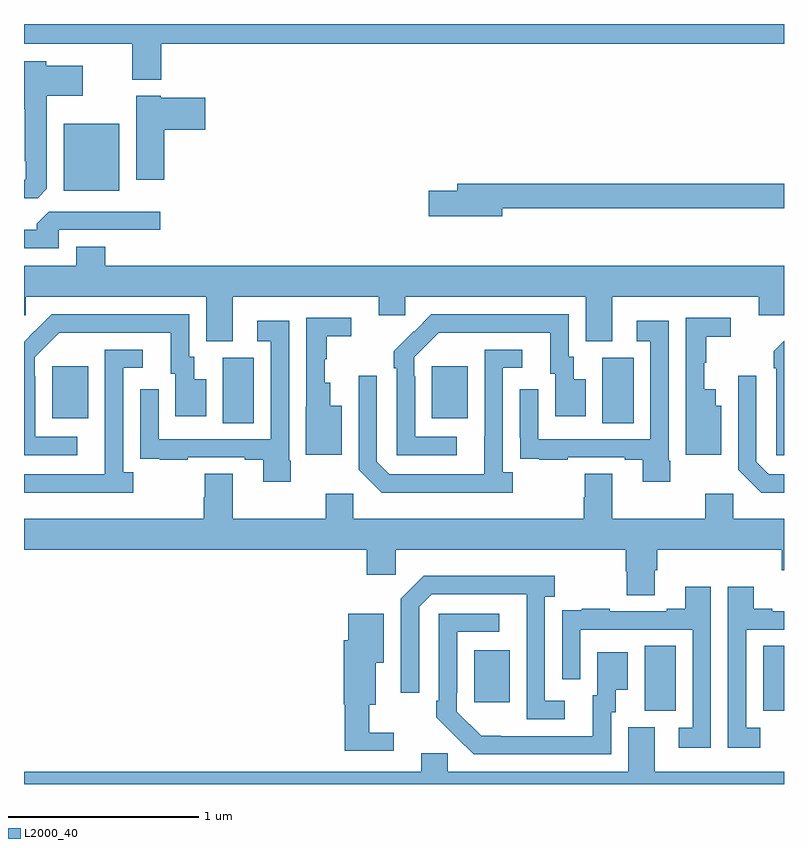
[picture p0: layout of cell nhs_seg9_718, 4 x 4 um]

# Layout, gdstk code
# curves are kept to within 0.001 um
import gdstk
lib = gdstk.Library(unit=1e-6, precision=1e-09)
def R(c, l, rs):  # rectangles x0, y0, x1, y1
    for r in rs: c.add(gdstk.rectangle(r[:2], r[2:], *l))
def P(c, l, *ps):  # polygons
    for p in ps: c.add(gdstk.Polygon(p, *l))
L2000_40 = (2000, 40)

nhs_seg9_718 = lib.new_cell('nhs_seg9_718')
R(nhs_seg9_718, L2000_40, [(150.266,1216.885,150.43,1217.228), (150.89,1216.885,151,1217.228), (149.369,1216.929,149.557,1217.203), (148.046,1218.4,148.21,1218.744), (150.044,1218.4,150.208,1218.744), (147.149,1218.425,147.337,1218.7), (149.147,1218.425,149.335,1218.7), (147.209,1219.622,147.502,1219.975)])
P(nhs_seg9_718, L2000_40, [(147.722,1220.396),(151,1220.396),(151,1220.5),(147,1220.5),(147,1220.396),(147.569,1220.396),(147.569,1220.207),(147.722,1220.207)],
  [(147.121,1219.633),(147.121,1220.123),(147.31,1220.123),(147.31,1220.281),(147.117,1220.281),(147.117,1220.305),(147,1220.305),(147,1220.051),(147.005,1220.051),(147.005,1219.777),(147.009,1219.777),(147.009,1219.68),(147,1219.68),(147,1219.584),(147.072,1219.584)],
  [(147.737,1219.943),(147.955,1219.943),(147.955,1220.113),(147.72,1220.113),(147.72,1220.122),(147.59,1220.122),(147.59,1219.68),(147.737,1219.68)],
  [(149.518,1219.53),(151,1219.53),(151,1219.658),(149.279,1219.658),(149.279,1219.622),(149.13,1219.622),(149.13,1219.487),(149.518,1219.487)],
  [(147.183,1219.416),(147.718,1219.416),(147.718,1219.512),(147.129,1219.512),(147.068,1219.45),(147.068,1219.416),(147,1219.416),(147,1219.32),(147.183,1219.32)],
  [(148.099,1219.064),(148.868,1219.064),(148.868,1218.966),(149.007,1218.966),(149.007,1219.064),(149.957,1219.064),(149.957,1218.829),(150.097,1218.829),(150.097,1219.064),(150.866,1219.064),(150.866,1218.966),(151,1218.966),(151,1219.228),(147.428,1219.228),(147.428,1219.327),(147.275,1219.327),(147.275,1219.228),(147,1219.228),(147,1218.966),(147.009,1218.966),(147.009,1219.064),(147.959,1219.064),(147.959,1218.829),(148.099,1218.829)],
  [(147.28,1218.327),(147.06,1218.327),(147.06,1218.647),(147.057,1218.647),(147.057,1218.747),(147.186,1218.876),(147.773,1218.876),(147.773,1218.66),(147.797,1218.66),(147.797,1218.435),(147.958,1218.435),(147.958,1218.631),(147.895,1218.631),(147.895,1218.75),(147.87,1218.75),(147.87,1218.972),(147.146,1218.972),(147,1218.828),(147,1218.231),(147.28,1218.231)],
  [(149.278,1218.327),(149.058,1218.327),(149.058,1218.647),(149.055,1218.647),(149.055,1218.747),(149.184,1218.876),(149.771,1218.876),(149.771,1218.66),(149.795,1218.66),(149.795,1218.435),(149.956,1218.435),(149.956,1218.631),(149.893,1218.631),(149.893,1218.75),(149.868,1218.75),(149.868,1218.972),(149.144,1218.972),(148.947,1218.777),(148.947,1218.689),(148.962,1218.689),(148.962,1218.231),(149.278,1218.231)],
  [(150.67,1218.49),(150.64,1218.49),(150.64,1218.577),(150.581,1218.577),(150.581,1218.717),(150.592,1218.717),(150.592,1218.853),(150.721,1218.853),(150.721,1218.954),(150.483,1218.954),(150.483,1218.473),(150.482,1218.473),(150.482,1218.233),(150.67,1218.233)],
  [(148.672,1218.49),(148.612,1218.49),(148.612,1218.613),(148.583,1218.613),(148.583,1218.735),(148.594,1218.735),(148.594,1218.856),(148.723,1218.856),(148.723,1218.954),(148.485,1218.954),(148.485,1218.486),(148.484,1218.486),(148.484,1218.233),(148.672,1218.233)],
  [(148.404,1218.202),(148.395,1218.202),(148.395,1218.937),(148.227,1218.937),(148.227,1218.831),(148.299,1218.831),(148.299,1218.315),(147.708,1218.315),(147.708,1218.577),(147.612,1218.577),(147.612,1218.322),(147.613,1218.322),(147.613,1218.213),(147.715,1218.213),(147.715,1218.207),(147.863,1218.207),(147.863,1218.219),(148.163,1218.219),(148.163,1218.207),(148.259,1218.207),(148.259,1218.09),(148.404,1218.09)],
  [(150.402,1218.202),(150.393,1218.202),(150.393,1218.937),(150.225,1218.937),(150.225,1218.831),(150.297,1218.831),(150.297,1218.315),(149.706,1218.315),(149.706,1218.577),(149.61,1218.577),(149.61,1218.322),(149.611,1218.322),(149.611,1218.213),(149.713,1218.213),(149.713,1218.207),(149.861,1218.207),(149.861,1218.219),(150.161,1218.219),(150.161,1218.207),(150.257,1218.207),(150.257,1218.09),(150.402,1218.09)],
  [(151,1218.832),(150.945,1218.777),(150.945,1218.689),(150.96,1218.689),(150.96,1218.231),(151,1218.231)],
  [(147.574,1218.142),(147.522,1218.142),(147.522,1218.69),(147.625,1218.69),(147.625,1218.786),(147.426,1218.786),(147.426,1218.329),(147.425,1218.329),(147.425,1218.129),(147,1218.129),(147,1218.032),(147.574,1218.032)],
  [(149.572,1218.142),(149.52,1218.142),(149.52,1218.69),(149.623,1218.69),(149.623,1218.786),(149.424,1218.786),(149.423,1218.129),(148.923,1218.129),(148.857,1218.195),(148.857,1218.649),(148.761,1218.649),(148.761,1218.153),(148.882,1218.032),(149.572,1218.032)],
  [(151,1218.129),(150.921,1218.129),(150.855,1218.195),(150.855,1218.649),(150.759,1218.649),(150.759,1218.153),(150.88,1218.032),(151,1218.032)],
  [(150.319,1217.626),(150.332,1217.626),(150.332,1217.732),(150.989,1217.732),(150.989,1217.626),(151,1217.626),(151,1217.896),(150.732,1217.896),(150.732,1218.028),(150.586,1218.028),(150.586,1217.896),(150.097,1217.896),(150.097,1218.134),(149.95,1218.134),(149.95,1218.009),(149.945,1218.009),(149.945,1217.896),(148.734,1217.896),(148.734,1218.028),(148.588,1218.028),(148.588,1217.896),(148.099,1217.896),(148.099,1218.134),(147.952,1218.134),(147.952,1218.009),(147.947,1218.009),(147.947,1217.896),(147,1217.896),(147,1217.732),(148.805,1217.732),(148.805,1217.601),(148.956,1217.601),(148.956,1217.732),(150.167,1217.732),(150.167,1217.619),(150.172,1217.619),(150.172,1217.494),(150.319,1217.494)],
  [(149.845,1216.938),(149.742,1216.938),(149.742,1217.486),(149.794,1217.486),(149.794,1217.596),(149.104,1217.596),(148.983,1217.475),(148.983,1216.98),(149.079,1216.98),(149.079,1217.433),(149.145,1217.499),(149.645,1217.499),(149.646,1216.842),(149.845,1216.842)],
  [(150.874,1216.797),(150.801,1216.797),(150.801,1217.313),(151,1217.313),(151,1217.409),(150.937,1217.409),(150.937,1217.422),(150.841,1217.422),(150.841,1217.539),(150.705,1217.539),(150.705,1216.692),(150.874,1216.692)],
  [(150.615,1217.539),(150.479,1217.539),(150.479,1217.422),(150.383,1217.422),(150.383,1217.409),(150.083,1217.409),(150.083,1217.422),(149.935,1217.422),(149.935,1217.415),(149.833,1217.415),(149.833,1217.306),(149.832,1217.306),(149.832,1217.052),(149.928,1217.052),(149.928,1217.313),(150.519,1217.313),(150.519,1216.797),(150.447,1216.797),(150.447,1216.692),(150.615,1216.692)],
  [(150.09,1216.878),(150.115,1216.878),(150.115,1216.997),(150.178,1216.997),(150.178,1217.194),(150.017,1217.194),(150.017,1216.968),(149.993,1216.968),(149.993,1216.752),(149.406,1216.753),(149.277,1216.881),(149.277,1216.981),(149.28,1216.981),(149.28,1217.301),(149.5,1217.301),(149.5,1217.397),(149.184,1217.397),(149.184,1216.939),(149.169,1216.939),(149.169,1216.851),(149.366,1216.656),(150.09,1216.656)],
  [(148.945,1216.771),(148.816,1216.771),(148.816,1216.916),(148.852,1216.916),(148.852,1217.138),(148.894,1217.138),(148.894,1217.395),(148.706,1217.395),(148.706,1217.256),(148.682,1217.256),(148.682,1216.92),(148.687,1216.92),(148.687,1216.674),(148.945,1216.674)],
  [(150.179,1216.8),(150.179,1216.564),(149.229,1216.564),(149.229,1216.662),(149.09,1216.662),(149.09,1216.564),(147,1216.564),(147,1216.5),(151,1216.5),(151,1216.564),(150.319,1216.564),(150.319,1216.8)])

lib.write_gds('nhs_seg9_718.gds')
